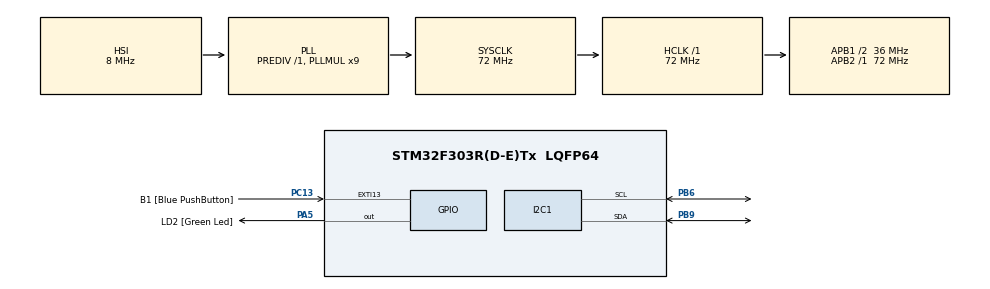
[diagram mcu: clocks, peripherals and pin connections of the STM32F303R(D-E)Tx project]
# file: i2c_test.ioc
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I2C1.Analog_Filter=I2C_ANALOGFILTER_DISABLE
I2C1.Timing=0x00101D2D
Mcu.Family=STM32F3
Mcu.Name=STM32F303R(D-E)Tx
Mcu.Package=LQFP64
NVIC.PriorityGroup=NVIC_PRIORITYGROUP_0
NVIC.TIM1_UP_TIM16_IRQn=true\:0\:1\:true\:false\:true\:true
PA13.GPIO_Label=TMS
PA13.Signal=SYS_JTMS-SWDIO
PA14.GPIO_Label=TCK
PA14.Signal=SYS_JTCK-SWCLK
PA2.GPIO_Label=USART_TX
PA2.GPIO_Mode=GPIO_MODE_AF_PP
PA2.GPIO_PuPd=GPIO_NOPULL
PA2.GPIO_Speed=GPIO_SPEED_FREQ_LOW
PA2.Signal=USART2_TX
PA3.GPIO_Label=USART_RX
PA3.GPIO_Mode=GPIO_MODE_AF_PP
PA3.GPIO_PuPd=GPIO_NOPULL
PA3.GPIO_Speed=GPIO_SPEED_FREQ_LOW
PA3.Signal=USART2_RX
PA5.GPIO_Label=LD2 [Green Led]
PA5.GPIO_Mode=GPIO_MODE_OUTPUT_PP
PA5.GPIO_PuPd=GPIO_NOPULL
PA5.GPIO_Speed=GPIO_SPEED_FREQ_LOW
PA5.Signal=GPIO_Output
PB3.GPIO_Label=SWO
PB3.Signal=SYS_JTDO-TRACESWO
PB6.Mode=I2C
PB6.Signal=I2C1_SCL
PB9.Mode=I2C
PB9.Signal=I2C1_SDA
PC13.GPIO_Label=B1 [Blue PushButton]
PC13.GPIO_ModeDefaultEXTI=GPIO_MODE_IT_FALLING
PC13.Signal=GPXTI13
PC14-OSC32_IN.Signal=RCC_OSC32_IN
PC15-OSC32_OUT.Signal=RCC_OSC32_OUT
PF0-OSC_IN.Signal=RCC_OSC_IN
PF1-OSC_OUT.Signal=RCC_OSC_OUT
ProjectManager.HeapSize=0x200
ProjectManager.StackSize=0x400
ProjectManager.TargetToolchain=MDK-ARM V5
RCC.AHBFreq_Value=72000000
RCC.APB1CLKDivider=RCC_HCLK_DIV2
RCC.APB1Freq_Value=36000000
RCC.APB1TimFreq_Value=72000000
RCC.APB2Freq_Value=72000000
RCC.APB2TimFreq_Value=72000000
RCC.CortexFreq_Value=72000000
RCC.HCLKFreq_Value=72000000
RCC.HSE_VALUE=8000000
RCC.HSI_VALUE=8000000
RCC.LSE_VALUE=32768
RCC.PLLM=8
RCC.PLLMUL=RCC_PLL_MUL9
RCC.PLLN=336
RCC.PLLP=RCC_PLLP_DIV4
RCC.PLLQ=7
RCC.RCC_PLLsource_Clock_Source_FROM_HSE=RCC_HSE_PREDIV_DIV2
RCC.SYSCLKFreq_VALUE=72000000
RCC.SYSCLKSourceVirtual=RCC_SYSCLKSOURCE_PLLCLK
RCC.USBFreq_Value=72000000
TIM1.Period=99
TIM1.Prescaler=71
VP_TIM1_VS_ClockSourceINT.Mode=Internal
board=NUCLEO-F303RE

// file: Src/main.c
/**
  ******************************************************************************
  * File Name          : main.c
  * Description        : Main program body
  ******************************************************************************
  ** This notice applies to any and all portions of this file
  * that are not between comment pairs USER CODE BEGIN and
  * USER CODE END. Other portions of this file, whether
  * inserted by the user or by software development tools
  * are owned by their respective copyright owners.
  *
  * COPYRIGHT(c) 2017 STMicroelectronics
  *
  * Redistribution and use in source and binary forms, with or without modification,
  * are permitted provided that the following conditions are met:
  *   1. Redistributions of source code must retain the above copyright notice,
  *      this list of conditions and the following disclaimer.
  *   2. Redistributions in binary form must reproduce the above copyright notice,
  *      this list of conditions and the following disclaimer in the documentation
  *      and/or other materials provided with the distribution.
  *   3. Neither the name of STMicroelectronics nor the names of its contributors
  *      may be used to endorse or promote products derived from this software
  *      without specific prior written permission.
  *
  * THIS SOFTWARE IS PROVIDED BY THE COPYRIGHT HOLDERS AND CONTRIBUTORS "AS IS"
  * AND ANY EXPRESS OR IMPLIED WARRANTIES, INCLUDING, BUT NOT LIMITED TO, THE
  * IMPLIED WARRANTIES OF MERCHANTABILITY AND FITNESS FOR A PARTICULAR PURPOSE ARE
  * DISCLAIMED. IN NO EVENT SHALL THE COPYRIGHT HOLDER OR CONTRIBUTORS BE LIABLE
  * FOR ANY DIRECT, INDIRECT, INCIDENTAL, SPECIAL, EXEMPLARY, OR CONSEQUENTIAL
  * DAMAGES (INCLUDING, BUT NOT LIMITED TO, PROCUREMENT OF SUBSTITUTE GOODS OR
  * SERVICES; LOSS OF USE, DATA, OR PROFITS; OR BUSINESS INTERRUPTION) HOWEVER
  * CAUSED AND ON ANY THEORY OF LIABILITY, WHETHER IN CONTRACT, STRICT LIABILITY,
  * OR TORT (INCLUDING NEGLIGENCE OR OTHERWISE) ARISING IN ANY WAY OUT OF THE USE
  * OF THIS SOFTWARE, EVEN IF ADVISED OF THE POSSIBILITY OF SUCH DAMAGE.
  *
  ******************************************************************************
  */
#include "main.h"
#include "stm32f3xx_hal.h"

I2C_HandleTypeDef hi2c1;

TIM_HandleTypeDef htim1;

/* USER CODE BEGIN PV */
/* Private variables ---------------------------------------------------------*/

/* USER CODE END PV */

void SystemClock_Config(void);
static void MX_GPIO_Init(void);
static void MX_I2C1_Init(void);
static void MX_TIM1_Init(void);

/* USER CODE BEGIN PFP */
/* Private function prototypes -----------------------------------------------*/

/* USER CODE END PFP */

/* USER CODE BEGIN 0 */
volatile uint16_t gTIM2_CNT; //100us ���� ���� ī��Ʈ
volatile uint8_t  gFLAG_1S;  //1���ֱ� ���� �÷���
volatile uint8_t  gFLAG_01S; //0.1���ֱ� ���� �÷���

typedef struct
 {
    I2C_HandleTypeDef* instance;
    uint16_t sdaPin;
    GPIO_TypeDef* sdaPort;
    uint16_t sclPin;
    GPIO_TypeDef* sclPort;
} I2C_Module_t;

static void I2C_ClearBusyFlagErratum(I2C_Module_t* i2c, uint32_t timeout);
static uint8_t wait_for_gpio_state_timeout(GPIO_TypeDef *port, uint16_t pin, GPIO_PinState state, uint32_t timeout);

//Ÿ�̸� ���ε� ���ͷ�Ʈ
void HAL_TIM_PeriodElapsedCallback(TIM_HandleTypeDef *htim)
{
	//Ÿ�̸�2, 100us ���� �߻�
  if(htim->Instance == TIM1)
  {
    gTIM2_CNT++;

    if(gTIM2_CNT > 49999)
      gTIM2_CNT = 0;

    //1�ʸ��� �ݺ� �÷���
    switch (gTIM2_CNT % 10000)
    {
      case 999: gFLAG_1S = 1; break;
      case 1999:gFLAG_1S = 2;break;
      case 2999:gFLAG_1S = 3;break;
      case 3999:gFLAG_1S = 4;break;
      case 4999:gFLAG_1S = 5;break;
      case 5999:gFLAG_1S = 6;break;
      case 6999:gFLAG_1S = 7;break;
      case 7999:gFLAG_1S = 8;break;
      case 8999:gFLAG_1S = 9;break;
      case 9999:gFLAG_1S = 10;break;
      default:
        break;
    }

    //0.1�ʸ��� �ݺ� �÷���
    if(gTIM2_CNT % 1000 == 499)
    {
       gFLAG_01S = 1;
    }
  }
}
/* USER CODE END 0 */

int main(void)
{

  /* USER CODE BEGIN 1 */
	//I2C ������ �迭
  uint8_t i2c_data[16] = {0xFF};

  //I2C ������ ����ü ����
	I2C_Module_t i2c_mode2;
	i2c_mode2.instance = &hi2c1;
	i2c_mode2.sclPin = GPIO_PIN_6;
	i2c_mode2.sclPort = GPIOB;
	i2c_mode2.sdaPin = GPIO_PIN_9;
	i2c_mode2.sdaPort = GPIOB;

	//HAL ���� ������
  HAL_StatusTypeDef HAL_Status;
  /* USER CODE END 1 */

  /* MCU Configuration----------------------------------------------------------*/

  /* Reset of all peripherals, Initializes the Flash interface and the Systick. */
  HAL_Init();

  /* Configure the system clock */
  SystemClock_Config();

  /* Initialize all configured peripherals */
  MX_GPIO_Init();
  MX_I2C1_Init();
  MX_TIM1_Init();

  /* USER CODE BEGIN 2 */
	HAL_TIM_Base_Start_IT(&htim1);
  /* USER CODE END 2 */

  /* Infinite loop */
  while (1)
  {

  /* USER CODE BEGIN 3 */
	switch (gFLAG_1S)
    {
      case 1:
        gFLAG_1S = 0;
        HAL_Status = HAL_I2C_Mem_Read(&hi2c1, (0x1E+0x3C) << 1, 0x0000, 1, i2c_data, 8, 10);

        break;

      case 2:
        gFLAG_1S = 0;

        if(HAL_Status == HAL_BUSY)
        {
					HAL_GPIO_WritePin(GPIOA,GPIO_PIN_5,GPIO_PIN_SET);
          I2C_ClearBusyFlagErratum(&i2c_mode2, 2);
        }
        break;

      case 3:
        gFLAG_1S = 0;

        break;

      case 4:
        gFLAG_1S = 0;

        break;

      case 5:
        gFLAG_1S = 0;

        break;

      case 6:
        gFLAG_1S = 0;

        break;

      case 7:
        gFLAG_1S = 0;

        break;

      case 8:
        gFLAG_1S = 0;

        break;

      case 9:
        gFLAG_1S = 0;

        break;

      case 10:
        gFLAG_1S = 0;

        break;

      default:
        break;
    }

    //0.1�ʸ��� �ݺ� �÷���
    if(gFLAG_01S)
    {
      gFLAG_01S = 0;
      HAL_GPIO_TogglePin(GPIOA, GPIO_PIN_5);
    }
  }
  /* USER CODE END 3 */

}

/** System Clock Configuration
*/
void SystemClock_Config(void)
{

  RCC_OscInitTypeDef RCC_OscInitStruct;
  RCC_ClkInitTypeDef RCC_ClkInitStruct;
  RCC_PeriphCLKInitTypeDef PeriphClkInit;

    /**Initializes the CPU, AHB and APB busses clocks
    */
  RCC_OscInitStruct.OscillatorType = RCC_OSCILLATORTYPE_HSI;
  RCC_OscInitStruct.HSIState = RCC_HSI_ON;
  RCC_OscInitStruct.HSICalibrationValue = 16;
  RCC_OscInitStruct.PLL.PLLState = RCC_PLL_ON;
  RCC_OscInitStruct.PLL.PLLSource = RCC_PLLSOURCE_HSI;
  RCC_OscInitStruct.PLL.PLLMUL = RCC_PLL_MUL9;
  RCC_OscInitStruct.PLL.PREDIV = RCC_PREDIV_DIV1;
  if (HAL_RCC_OscConfig(&RCC_OscInitStruct) != HAL_OK)
  {
    _Error_Handler(__FILE__, __LINE__);
  }

    /**Initializes the CPU, AHB and APB busses clocks
    */
  RCC_ClkInitStruct.ClockType = RCC_CLOCKTYPE_HCLK|RCC_CLOCKTYPE_SYSCLK
                              |RCC_CLOCKTYPE_PCLK1|RCC_CLOCKTYPE_PCLK2;
  RCC_ClkInitStruct.SYSCLKSource = RCC_SYSCLKSOURCE_PLLCLK;
  RCC_ClkInitStruct.AHBCLKDivider = RCC_SYSCLK_DIV1;
  RCC_ClkInitStruct.APB1CLKDivider = RCC_HCLK_DIV2;
  RCC_ClkInitStruct.APB2CLKDivider = RCC_HCLK_DIV1;

  if (HAL_RCC_ClockConfig(&RCC_ClkInitStruct, FLASH_LATENCY_2) != HAL_OK)
  {
    _Error_Handler(__FILE__, __LINE__);
  }

  PeriphClkInit.PeriphClockSelection = RCC_PERIPHCLK_I2C1|RCC_PERIPHCLK_TIM1;
  PeriphClkInit.I2c1ClockSelection = RCC_I2C1CLKSOURCE_HSI;
  PeriphClkInit.Tim1ClockSelection = RCC_TIM1CLK_HCLK;
  if (HAL_RCCEx_PeriphCLKConfig(&PeriphClkInit) != HAL_OK)
  {
    _Error_Handler(__FILE__, __LINE__);
  }

    /**Configure the Systick interrupt time
    */
  HAL_SYSTICK_Config(HAL_RCC_GetHCLKFreq()/1000);

    /**Configure the Systick
    */
  HAL_SYSTICK_CLKSourceConfig(SYSTICK_CLKSOURCE_HCLK);

  /* SysTick_IRQn interrupt configuration */
  HAL_NVIC_SetPriority(SysTick_IRQn, 0, 0);
}

/* I2C1 init function */
static void MX_I2C1_Init(void)
{

  hi2c1.Instance = I2C1;
  hi2c1.Init.Timing = 0x00101D2D;
  hi2c1.Init.OwnAddress1 = 0;
  hi2c1.Init.AddressingMode = I2C_ADDRESSINGMODE_7BIT;
  hi2c1.Init.DualAddressMode = I2C_DUALADDRESS_DISABLE;
  hi2c1.Init.OwnAddress2 = 0;
  hi2c1.Init.OwnAddress2Masks = I2C_OA2_NOMASK;
  hi2c1.Init.GeneralCallMode = I2C_GENERALCALL_DISABLE;
  hi2c1.Init.NoStretchMode = I2C_NOSTRETCH_DISABLE;
  if (HAL_I2C_Init(&hi2c1) != HAL_OK)
  {
    _Error_Handler(__FILE__, __LINE__);
  }

    /**Configure Analogue filter
    */
  if (HAL_I2CEx_ConfigAnalogFilter(&hi2c1, I2C_ANALOGFILTER_DISABLE) != HAL_OK)
  {
    _Error_Handler(__FILE__, __LINE__);
  }

    /**Configure Digital filter
    */
  if (HAL_I2CEx_ConfigDigitalFilter(&hi2c1, 0) != HAL_OK)
  {
    _Error_Handler(__FILE__, __LINE__);
  }

}

/* TIM1 init function */
static void MX_TIM1_Init(void)
{

  TIM_ClockConfigTypeDef sClockSourceConfig;
  TIM_MasterConfigTypeDef sMasterConfig;

  htim1.Instance = TIM1;
  htim1.Init.Prescaler = 71;
  htim1.Init.CounterMode = TIM_COUNTERMODE_UP;
  htim1.Init.Period = 99;
  htim1.Init.ClockDivision = TIM_CLOCKDIVISION_DIV1;
  htim1.Init.RepetitionCounter = 0;
  htim1.Init.AutoReloadPreload = TIM_AUTORELOAD_PRELOAD_DISABLE;
  if (HAL_TIM_Base_Init(&htim1) != HAL_OK)
  {
    _Error_Handler(__FILE__, __LINE__);
  }

  sClockSourceConfig.ClockSource = TIM_CLOCKSOURCE_INTERNAL;
  if (HAL_TIM_ConfigClockSource(&htim1, &sClockSourceConfig) != HAL_OK)
  {
    _Error_Handler(__FILE__, __LINE__);
  }

  sMasterConfig.MasterOutputTrigger = TIM_TRGO_RESET;
  sMasterConfig.MasterOutputTrigger2 = TIM_TRGO2_RESET;
  sMasterConfig.MasterSlaveMode = TIM_MASTERSLAVEMODE_DISABLE;
  if (HAL_TIMEx_MasterConfigSynchronization(&htim1, &sMasterConfig) != HAL_OK)
  {
    _Error_Handler(__FILE__, __LINE__);
  }

}

/** Configure pins as
        * Analog
        * Input
        * Output
        * EVENT_OUT
        * EXTI
     PA2   ------> USART2_TX
     PA3   ------> USART2_RX
*/
static void MX_GPIO_Init(void)
{

  GPIO_InitTypeDef GPIO_InitStruct;

  /* GPIO Ports Clock Enable */
  __HAL_RCC_GPIOC_CLK_ENABLE();
  __HAL_RCC_GPIOF_CLK_ENABLE();
  __HAL_RCC_GPIOA_CLK_ENABLE();
  __HAL_RCC_GPIOB_CLK_ENABLE();

  /*Configure GPIO pin Output Level */
  HAL_GPIO_WritePin(LD2_GPIO_Port, LD2_Pin, GPIO_PIN_RESET);

  /*Configure GPIO pin : B1_Pin */
  GPIO_InitStruct.Pin = B1_Pin;
  GPIO_InitStruct.Mode = GPIO_MODE_IT_FALLING;
  GPIO_InitStruct.Pull = GPIO_NOPULL;
  HAL_GPIO_Init(B1_GPIO_Port, &GPIO_InitStruct);

  /*Configure GPIO pins : USART_TX_Pin USART_RX_Pin */
  GPIO_InitStruct.Pin = USART_TX_Pin|USART_RX_Pin;
  GPIO_InitStruct.Mode = GPIO_MODE_AF_PP;
  GPIO_InitStruct.Pull = GPIO_NOPULL;
  GPIO_InitStruct.Speed = GPIO_SPEED_FREQ_LOW;
  GPIO_InitStruct.Alternate = GPIO_AF7_USART2;
  HAL_GPIO_Init(GPIOA, &GPIO_InitStruct);

  /*Configure GPIO pin : LD2_Pin */
  GPIO_InitStruct.Pin = LD2_Pin;
  GPIO_InitStruct.Mode = GPIO_MODE_OUTPUT_PP;
  GPIO_InitStruct.Pull = GPIO_NOPULL;
  GPIO_InitStruct.Speed = GPIO_SPEED_FREQ_LOW;
  HAL_GPIO_Init(LD2_GPIO_Port, &GPIO_InitStruct);

}

/* USER CODE BEGIN 4 */
static uint8_t wait_for_gpio_state_timeout(GPIO_TypeDef *port, uint16_t pin, GPIO_PinState state, uint32_t timeout)
 {
    uint32_t Tickstart = HAL_GetTick();
    uint8_t ret = 1;
    /* Wait until flag is set */
    for(;(state != HAL_GPIO_ReadPin(port, pin)) && (1 == ret);)
    {
        /* Check for the timeout */
        if (timeout != HAL_MAX_DELAY)
        {
            if ((timeout == 0U) || ((HAL_GetTick() - Tickstart) > timeout))
            {
                ret = 0;
            }
            else
            {
            }
        }
        __nop();
    }
    return ret;
}

static void I2C_ClearBusyFlagErratum(I2C_Module_t* i2c, uint32_t timeout)
{
    GPIO_InitTypeDef GPIO_InitStructure;

    I2C_HandleTypeDef* handler = i2c->instance;

    // Call de-initialization function.
		HAL_I2C_DeInit(handler);
		__NOP(); //asm("nop");
		// Call initialization function.
		HAL_I2C_Init(handler);
		__NOP(); //asm("nop");

    // 1. Clear PE bit.
    CLEAR_BIT(handler->Instance->CR1, I2C_CR1_PE);

    //  2. Configure the SCL and SDA I/Os as General Purpose Output Open-Drain, High level (Write 1 to GPIOx_ODR).
    HAL_I2C_DeInit(handler);

    GPIO_InitStructure.Mode = GPIO_MODE_OUTPUT_OD;
    GPIO_InitStructure.Pull = GPIO_NOPULL;
    GPIO_InitStructure.Speed = GPIO_SPEED_FREQ_HIGH;

    GPIO_InitStructure.Pin = i2c->sclPin;
    HAL_GPIO_Init(i2c->sclPort, &GPIO_InitStructure);

    GPIO_InitStructure.Pin = i2c->sdaPin;
    HAL_GPIO_Init(i2c->sdaPort, &GPIO_InitStructure);

    // 3. Check SCL and SDA High level in GPIOx_IDR.
    HAL_GPIO_WritePin(i2c->sdaPort, i2c->sdaPin, GPIO_PIN_SET);
    HAL_GPIO_WritePin(i2c->sclPort, i2c->sclPin, GPIO_PIN_SET);

    wait_for_gpio_state_timeout(i2c->sclPort, i2c->sclPin, GPIO_PIN_SET, timeout);
    wait_for_gpio_state_timeout(i2c->sdaPort, i2c->sdaPin, GPIO_PIN_SET, timeout);

    // 4. Configure the SDA I/O as General Purpose Output Open-Drain, Low level (Write 0 to GPIOx_ODR).
    HAL_GPIO_WritePin(i2c->sdaPort, i2c->sdaPin, GPIO_PIN_RESET);

    // 5. Check SDA Low level in GPIOx_IDR.
    wait_for_gpio_state_timeout(i2c->sdaPort, i2c->sdaPin, GPIO_PIN_RESET, timeout);

    // 6. Configure the SCL I/O as General Purpose Output Open-Drain, Low level (Write 0 to GPIOx_ODR).
    HAL_GPIO_WritePin(i2c->sclPort, i2c->sclPin, GPIO_PIN_RESET);

    // 7. Check SCL Low level in GPIOx_IDR.
    wait_for_gpio_state_timeout(i2c->sclPort, i2c->sclPin, GPIO_PIN_RESET, timeout);

    // 8. Configure the SCL I/O as General Purpose Output Open-Drain, High level (Write 1 to GPIOx_ODR).
    HAL_GPIO_WritePin(i2c->sclPort, i2c->sclPin, GPIO_PIN_SET);

    // 9. Check SCL High level in GPIOx_IDR.
    wait_for_gpio_state_timeout(i2c->sclPort, i2c->sclPin, GPIO_PIN_SET, timeout);

    // 10. Configure the SDA I/O as General Purpose Output Open-Drain , High level (Write 1 to GPIOx_ODR).
    HAL_GPIO_WritePin(i2c->sdaPort, i2c->sdaPin, GPIO_PIN_SET);

    // 11. Check SDA High level in GPIOx_IDR.
    wait_for_gpio_state_timeout(i2c->sdaPort, i2c->sdaPin, GPIO_PIN_SET, timeout);

    // 12. Configure the SCL and SDA I/Os as Alternate function Open-Drain.
    GPIO_InitStructure.Mode = GPIO_MODE_AF_OD;
    GPIO_InitStructure.Alternate = GPIO_AF4_I2C1;

    GPIO_InitStructure.Pin = i2c->sclPin;
    HAL_GPIO_Init(i2c->sclPort, &GPIO_InitStructure);

    GPIO_InitStructure.Pin = i2c->sdaPin;
    HAL_GPIO_Init(i2c->sdaPort, &GPIO_InitStructure);

    // 13. Set SWRST bit in I2Cx_CR1 register.
    SET_BIT(handler->Instance->CR1, I2C_CR1_SWRST);
    __nop();

    /* 14. Clear SWRST bit in I2Cx_CR1 register. */
    CLEAR_BIT(handler->Instance->CR1, I2C_CR1_SWRST);
    __nop();

    /* 15. Enable the I2C peripheral by setting the PE bit in I2Cx_CR1 register */
    SET_BIT(handler->Instance->CR1, I2C_CR1_PE);
		__nop();

    // Call initialization function.
    HAL_I2C_Init(handler);
}
/* USER CODE END 4 */

void _Error_Handler(char * file, int line)
{
  while(1)
  {
  }
}

/************************ (C) COPYRIGHT STMicroelectronics *****END OF FILE****/
